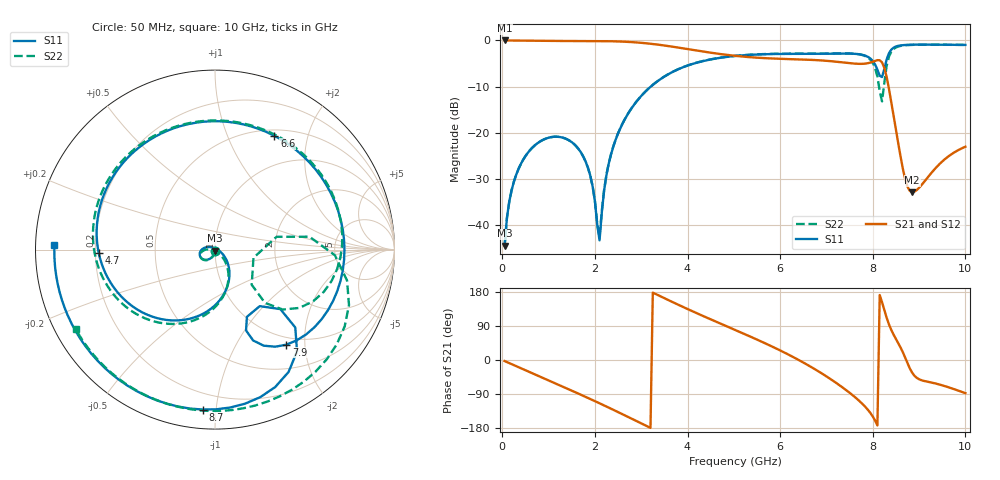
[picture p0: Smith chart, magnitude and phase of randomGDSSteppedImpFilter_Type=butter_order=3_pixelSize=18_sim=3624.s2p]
! freq	dB(S11)	phase(S11)	dB(S12)	phase(S12)
!  dB(S21)	phase(S21)	dB(S22)	phase(S22)
!S-par simulation data
#  GHz  S  DB  R 50
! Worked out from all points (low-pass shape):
!   200 points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, 50 MHz to 10 GHz, reference 50 ohm
!   highest |S21| = 0.00 dB at 50 MHz (marker M1); lowest = -32.8 dB at 8.85 GHz (marker M2)
!   |S21| within 3 dB of the highest: start of sweep to 4.754 GHz
!   lowest |S11| = -44.4 dB at 50 MHz (marker M3), VSWR 1.01, Z = 50 - j0.603 ohm
!   |S11| at or under -10 dB: start of sweep to 3.205 GHz
!   |S22| runs from -44.5 to -0.9 dB; largest |S21 - S12| = 0
!   S11 on the Smith chart (normalised r, x): 50 MHz: 1.00, -0.01; 4.7 GHz: 0.21, -0.01; 6.6 GHz: 0.57, +1.49; 7.9 GHz: 0.87, -1.65; 8.7 GHz: 0.10, -0.92; 10 GHz: 0.06, +0.02
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0.05  -44.38 -92.7  -0.00 -2.7  -0.00 -2.7  -44.51 -92.0
0.2  -32.45 -101.0  -0.02 -10.9  -0.02 -10.9  -32.47 -100.2
0.6  -23.72 -123.5  -0.06 -32.4  -0.06 -32.4  -23.71 -121.5
1.75  -25.14 168.1  -0.12 -94.6  -0.12 -94.6  -25.15 -178.6
1.95  -31.52 149.0  -0.13 -105.7  -0.13 -105.7  -31.54 178.9
2.1  -43.26 47.6  -0.14 -114.2  -0.14 -114.2  -42.48 -97.2
2.25  -29.08 -23.5  -0.15 -122.8  -0.15 -122.8  -28.97 -44.9
2.45  -21.42 -41.8  -0.20 -134.5  -0.20 -134.5  -21.37 -49.4
3.4  -8.47 -103.3  -0.96 169.0  -0.96 169.0  -8.45 -100.3
4.7  -3.76 -178.5  -2.93 96.6  -2.93 96.6  -3.74 -168.5
5.05  -3.34 162.0  -3.35 78.1  -3.35 78.1  -3.31 174.4
5.95  -2.92 108.2  -3.95 28.3  -3.95 28.3  -2.88 128.8
6.6  -2.91 62.5  -4.17 -13.5  -4.17 -13.5  -2.86 90.8
6.7  -2.91 54.7  -4.21 -20.6  -4.21 -20.6  -2.85 84.3
7.35  -2.84 -0.2  -4.75 -72.6  -4.75 -72.6  -2.80 35.1
7.9  -3.58 -53.1  -4.91 -132.2  -4.91 -132.2  -3.74 -21.2
8.05  -5.21 -67.2  -4.42 -159.7  -4.42 -159.7  -5.95 -41.5
8.2  -7.92 -51.6  -4.75 152.4  -4.75 152.4  -13.18 -12.1
8.35  -2.76 -51.1  -10.49 93.9  -10.49 93.9  -3.50 -2.7
8.7  -0.98 -94.3  -30.03 6.2  -30.03 6.2  -1.04 -56.0
8.85  -0.92 -107.4  -32.83 -33.4  -32.83 -33.4  -0.96 -70.9
10  -0.96 178.3  -23.00 -87.5  -23.00 -87.5  -0.98 -150.4
